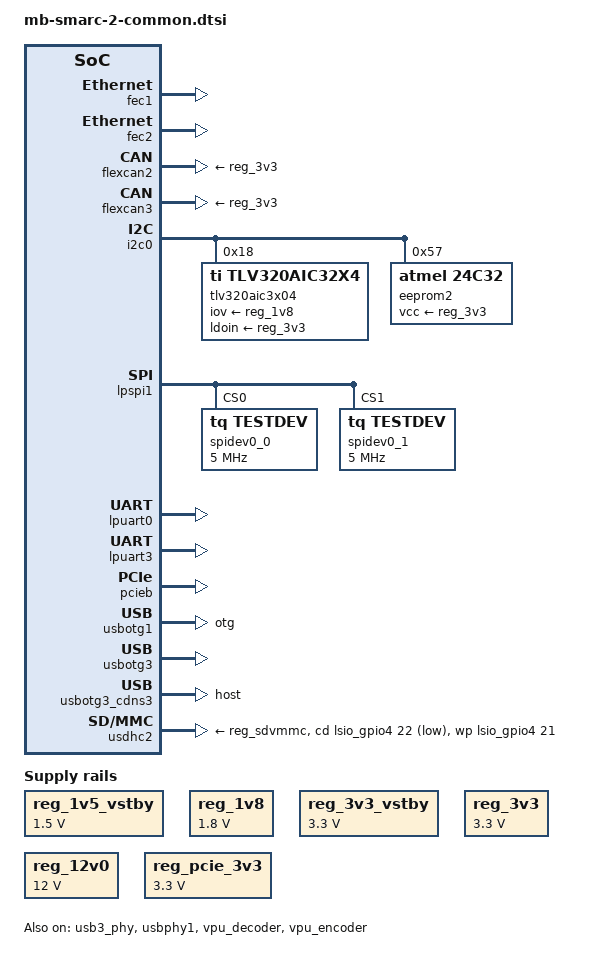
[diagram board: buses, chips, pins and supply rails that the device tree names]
// SPDX-License-Identifier: (GPL-2.0-or-later OR MIT)
/*
 * Copyright 2018-2022 TQ-Systems GmbH
 * Author: Alexander Stein <linux@ew.tq-group.com>
 */

/ {
	aliases {
		rtc0 = &rtc1;
		rtc1 = &rtc;
	};

	backlight_lvds0: backlight-lvds0 {
		compatible = "pwm-backlight";
		pinctrl-names = "default";
		pinctrl-0 = <&pinctrl_backlight_lvds0>;
		pwms = <&pwm_mipi_lvds0 0 5000000 0>;
		brightness-levels = <0 4 8 16 32 64 128 255>;
		default-brightness-level = <7>;
		power-supply = <&reg_12v0>;
		enable-gpios = <&lsio_gpio1 2 GPIO_ACTIVE_HIGH>;
		status = "disabled";
	};

	backlight_lvds1: backlight-lvds1 {
		compatible = "pwm-backlight";
		pinctrl-names = "default";
		pinctrl-0 = <&pinctrl_backlight_lvds1>;
		pwms = <&pwm_mipi_lvds1 0 100000 0>;
		brightness-levels = <0 4 8 16 32 64 128 255>;
		default-brightness-level = <7>;
		power-supply = <&reg_12v0>;
		enable-gpios = <&lsio_gpio1 0 GPIO_ACTIVE_HIGH>;
		status = "disabled";
	};

	chosen {
		bootargs = "console=ttyLP0,115200 earlycon";
		stdout-path = &lpuart0;
	};

	reg_sdvmmc: regulator-sdvmmc {
		off-on-delay-us = <200000>;
		status = "okay";
	};

	reg_1v5_vstby: regulator-1v5_vstby {
		compatible = "regulator-fixed";
		regulator-name = "1V5_VSTBY";
		regulator-min-microvolt = <1500000>;
		regulator-max-microvolt = <1500000>;
		regulator-always-on;
	};

	reg_1v8: regulator-1v8 {
		compatible = "regulator-fixed";
		regulator-name = "1V8";
		regulator-min-microvolt = <1800000>;
		regulator-max-microvolt = <1800000>;
		regulator-always-on;
	};

	reg_3v3_vstby: regulator-3v3_vstby {
		compatible = "regulator-fixed";
		regulator-name = "3V3_VSTBY";
		regulator-min-microvolt = <3300000>;
		regulator-max-microvolt = <3300000>;
		regulator-always-on;
	};

	reg_3v3: regulator-3v3 {
		compatible = "regulator-fixed";
		regulator-name = "3V3";
		regulator-min-microvolt = <3300000>;
		regulator-max-microvolt = <3300000>;
		regulator-always-on;
	};

	reg_12v0: regulator-12v0 {
		compatible = "regulator-fixed";
		regulator-name = "12V0";
		regulator-min-microvolt = <12000000>;
		regulator-max-microvolt = <12000000>;
		regulator-always-on;
	};


	reg_pcie_3v3: regulator-pcie-3v3 {
		compatible = "regulator-fixed";
		regulator-name = "MBA8QX_PCIE_3V3";
		regulator-min-microvolt = <3300000>;
		regulator-max-microvolt = <3300000>;
		regulator-always-on;
	};

	sound {
		compatible = "fsl,imx-audio-tlv320aic32x4";
		model = "tqm-tlv320aic32";
		ssi-controller = <&sai1>;
		audio-codec = <&tlv320aic3x04>;
	};
};

&ethphy0 {
	/* LED1: Link, LED2: activity */
	ti,led-function = <0xc100>;
	/* active high, LED1/2 driven by phy */
	ti,led-ctrl = <0x1441>;
};

&ethphy3 {
	/* LED1: Link, LED2: activity */
	ti,led-function = <0xc100>;
	/* active high, LED1/2 driven by phy */
	ti,led-ctrl = <0x1441>;
};

&fec1 {
	status = "okay";
};

&fec2 {
	status = "okay";
};

&flexcan2 {
	xceiver-supply = <&reg_3v3>;
	status = "okay";
};

&flexcan3 {
	xceiver-supply = <&reg_3v3>;
	status = "okay";
};

&i2c0 {
	tlv320aic3x04: audio-codec@18 {
		compatible = "ti,tlv320aic32x4";
		reg = <0x18>;
		clocks = <&mclkout0_lpcg 0>;
		clock-names = "mclk";
		iov-supply = <&reg_1v8>;
		ldoin-supply = <&reg_3v3>;
	};

	eeprom2: eeprom@57 {
		compatible = "atmel,24c32";
		reg = <0x57>;
		pagesize = <32>;
		vcc-supply = <&reg_3v3>;
	};
};

&lpspi1 {
	spidev0_0: spidev0@0 {
		reg = <0>;
		compatible = "tq,testdev";
		spi-max-frequency = <5000000>;
	};

	spidev0_1: spidev0@1 {
		reg = <1>;
		compatible = "tq,testdev";
		spi-max-frequency = <5000000>;
	};
};

&lpuart0 {
	status = "okay";
};

&lpuart3 {
	status = "okay";
};

&pcieb{
	epdev_on-supply = <&reg_pcie_3v3>;
	status = "okay";
};

&usbotg1 {
	pinctrl-names = "default";
	pinctrl-0 = <&pinctrl_usbotg1>;
	srp-disable;
	hnp-disable;
	adp-disable;
	power-active-high;
	over-current-active-low;
	dr_mode = "otg";
	status = "okay";
};

&usbotg3 {
	status = "okay";
};

&usbotg3_cdns3 {
	dr_mode = "host";
	status = "okay";
};

&usb3_phy {
	status = "okay";
};

&usbphy1 {
	status = "okay";
};

&usdhc2 {
	cd-gpios = <&lsio_gpio4 22 GPIO_ACTIVE_LOW>;
	wp-gpios = <&lsio_gpio4 21 GPIO_ACTIVE_HIGH>;
	vmmc-supply = <&reg_sdvmmc>;
	no-mmc;
	no-sdio;
	status = "okay";
};

&vpu_decoder {
	status = "okay";
};

&vpu_encoder {
	status = "okay";
};
